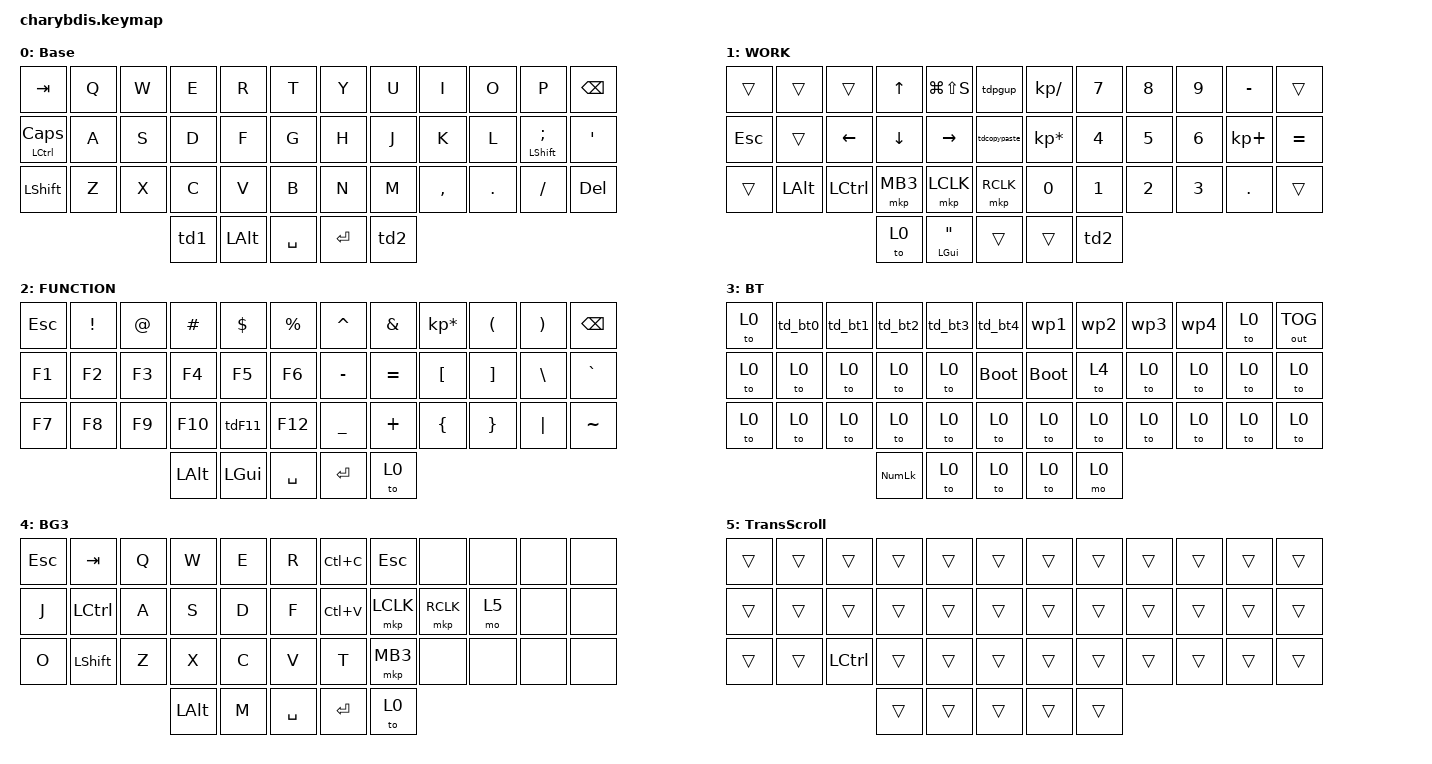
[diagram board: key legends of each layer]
#include <behaviors/mouse_keys.dtsi>
#include <behaviors.dtsi>
#include <dt-bindings/zmk/bt.h>
#include <dt-bindings/zmk/keys.h>
#include <dt-bindings/zmk/mouse.h>
#include <dt-bindings/zmk/outputs.h>

#define U_TAPPING_TERM 200

/ {
    chosen { zmk,matrix_transform = &default_transform; };
};

/ {
    macros {
        wp1: wp1 {
            compatible = "zmk,behavior-macro";
            #binding-cells = <0>;
            bindings = <&none &kp N1 &kp N1 &kp N2 &kp N7>;
            label = "WP1";
        };

        wp2: wp2 {
            compatible = "zmk,behavior-macro";
            #binding-cells = <0>;
            bindings = <&none &kp LS(J) &kp LS(T) &kp LS(B) &kp I &kp R &kp C &kp H &kp W &kp O &kp D &kp DLLR &kp N3 &kp RET>;
            label = "WP2";
        };

        wp3: wp3 {
            compatible = "zmk,behavior-macro";
            #binding-cells = <0>;
            bindings = <&none &kp J &kp O &kp N &kp A &kp T &kp H &kp A &kp N &kp DOT &kp T &kp A &kp N &kp G &kp N2 &kp TAB>;
            label = "WP3";
        };

        wp4: wp4 {
            compatible = "zmk,behavior-macro";
            #binding-cells = <0>;
            bindings = <&none &kp LS(I) &kp N &kp T &kp E &kp N &kp DLLR &kp J &kp T &kp N1 &kp RET>;
            label = "WP4";
        };

        sw1: sw1 {
            compatible = "zmk,behavior-macro";
            #binding-cells = <0>;
            bindings = <&none &kp SPACE &kp PIPE &kp SPACE>;
            label = "SW1";
        };

        sw2: sw2 {
            compatible = "zmk,behavior-macro";
            #binding-cells = <0>;
            bindings = <&none &kp SPACE &kp MINUS &kp SPACE>;
            label = "SW2";
        };
    };

    behaviors {
        td1: td1 {
            compatible = "zmk,behavior-tap-dance";
            label = "TD1";
            #binding-cells = <0>;
            bindings = <&mo 1>, <&mo 5>;

            tapping-term-ms = <200>;
        };

        td2: td2 {
            compatible = "zmk,behavior-tap-dance";
            label = "TD2";
            #binding-cells = <0>;
            bindings = <&mo 2>, <&mo 3>;

            tapping-term-ms = <200>;
        };

        td_bt0: td_bt0 {
            compatible = "zmk,behavior-tap-dance";
            label = "TD_BT0";
            #binding-cells = <0>;
            bindings = <&bt BT_SEL 0>, <&bt BT_CLR>;
        };

        td_bt1: td_bt1 {
            compatible = "zmk,behavior-tap-dance";
            label = "TD_BT1";
            #binding-cells = <0>;
            bindings = <&bt BT_SEL 1>, <&bt BT_CLR>;
        };

        td_bt2: td_bt2 {
            compatible = "zmk,behavior-tap-dance";
            label = "TD_BT2";
            #binding-cells = <0>;
            bindings = <&bt BT_SEL 2>, <&bt BT_CLR>;
        };

        td_bt3: td_bt3 {
            compatible = "zmk,behavior-tap-dance";
            label = "TD_BT3";
            #binding-cells = <0>;
            bindings = <&bt BT_SEL 3>, <&bt BT_CLR>;
        };

        td_bt4: td_bt4 {
            compatible = "zmk,behavior-tap-dance";
            label = "TD_BT4";
            #binding-cells = <0>;
            bindings = <&bt BT_SEL 4>, <&bt BT_CLR>;
        };

        td_tab_esc: td_tab_esc {
            compatible = "zmk,behavior-tap-dance";
            label = "TD_TAB_ESC";
            #binding-cells = <0>;
            bindings = <&kp TAB>, <&kp ESC>;

            tapping-term-ms = <200>;
        };

        td_minus_equal: td_minus_equal {
            compatible = "zmk,behavior-tap-dance";
            label = "TD_MINUS_EQUAL";
            #binding-cells = <0>;
            bindings = <&kp MINUS>, <&kp EQUAL>;

            tapping-term-ms = <200>;
        };

        tdF11: tdF11 {
            compatible = "zmk,behavior-tap-dance";
            label = "TDF11";
            #binding-cells = <0>;
            bindings = <&kp F11>, <&kp LC(F11)>;
        };

        tdcopypaste: tdcopypaste {
            compatible = "zmk,behavior-tap-dance";
            label = "TDCOPYPASTE";
            #binding-cells = <0>;
            bindings = <&kp LC(C)>, <&kp LC(V)>;
        };

        tdpgup: tdpgup {
            compatible = "zmk,behavior-tap-dance";
            label = "TDPGUP";
            #binding-cells = <0>;
            bindings = <&kp LC(PG_DN)>, <&kp LC(PG_UP)>;
        };
    };

    keymap {
        compatible = "zmk,keymap";

        Base {
            // -------------------------------------------------------------------------------------------
            // |    TAB    |  Q  |  W  |  E  |  R  |  T  |   |  Y  |  U    |  I  |  O  |     P    | BKSP |
            // | CTRL/CAPS |  A  |  S  |  D  |  F  |  G  |   |  H  |  J    |  K  |  L  |  ;/SHFT  |  '   |
            // |   SHFT    |  Z  |  X  |  C  |  V  |  B  |   |  N  |  M    |  ,  |  .  |     /    | DEL  |
            //                         | ALT |  L1 | SPC |   | ENT | L2/L3 |

            bindings = <
&kp TAB             &kp Q  &kp W  &kp E   &kp R          &kp T        &kp Y    &kp U  &kp I      &kp O    &kp P                     &kp BSPC
&mt LCTRL CAPSLOCK  &kp A  &kp S  &kp D   &kp F          &kp G        &kp H    &kp J  &kp K      &kp L    &mt LEFT_SHIFT SEMICOLON  &kp SQT
&kp LSHFT           &kp Z  &kp X  &kp C   &kp V          &kp B        &kp N    &kp M  &kp COMMA  &kp DOT  &kp FSLH                  &kp DEL
                                  &td1    &kp LEFT_ALT   &kp SPACE    &kp RET  &td2
            >;
        };

        WORK {
            // -----------------------------------------------------------------------------------------
            // | TAB  |  Q  |   W   |  UP   | CTRL  | SCR UP |   |  /   |   7   |  8  |  9  |  -  | BKSP |
            // | ESC  |  A  |  LFT  |  DWN  |  RGHT | SCR DN |   |  *   |   4   |  5  |  6  |  +  |  =   |
            // | SHFT | ALT | PG_UP | PG_UP | LCK   |  RCK   |   |  0   |   1   |  2  |  3  |  .  | DEL  |
            //                      | "/GUI |   L0  |  SPC   |   | ENT  | L2/L3 |

            bindings = <
&trans   &trans        &trans     &kp UP_ARROW  &kp LG(LS(S))                       &tdpgup          &kp KP_SLASH     &kp N7  &kp N8  &kp N9  &kp MINUS    &trans
&kp ESC  &trans        &kp LEFT   &kp DOWN      &kp RIGHT                           &tdcopypaste     &kp KP_MULTIPLY  &kp N4  &kp N5  &kp N6  &kp KP_PLUS  &kp EQUAL
&trans   &kp LEFT_ALT  &kp LCTRL  &mkp MB3      &mkp LCLK                           &mkp RCLK        &kp N0           &kp N1  &kp N2  &kp N3  &kp DOT      &trans
                                  &to 0         &mt LEFT_GUI DOUBLE_QUOTES          &trans           &trans           &td2
            >;
        };

        FUNCTION {
            // -----------------------------------------------------------------------------------------
            // |  ESC |  !  |  @  |  #  |  $  |  %  |   |  ^  |  &  |  *  |  (  |  )  | BKSP |
            // |  F1  |  F2 |  F3 |  F4 |  F5 |  F6 |   |  -  |  =  |  [  |  ]  |  \  |  `   |
            // |  F7  |  F8 |  F9 | F10 | F11 | F12 |   |  _  |  +  |  {  |  }  | "|" |  ~   |
            //                    | ALT | GUI | SPC |   | ENT | L0  |

            display-name = "FUNCTION";
            bindings = <
&kp ESC  &kp EXCL  &kp AT  &kp HASH  &kp DLLR      &kp PRCNT    &kp CARET  &kp AMPS   &kp KP_MULTIPLY  &kp LPAR  &kp RPAR  &kp BSPC
&kp F1   &kp F2    &kp F3  &kp F4    &kp F5        &kp F6       &kp MINUS  &kp EQUAL  &kp LBKT         &kp RBKT  &kp BSLH  &kp GRAVE
&kp F7   &kp F8    &kp F9  &kp F10   &tdF11        &kp F12      &kp UNDER  &kp PLUS   &kp LBRC         &kp RBRC  &kp PIPE  &kp TILDE
                           &kp LALT  &kp LEFT_GUI  &kp SPACE    &kp RET    &to 0
            >;
        };

        BT {
            display-name = "BT";
            bindings = <
&to 0  &td_bt0  &td_bt1  &td_bt2     &td_bt3  &td_bt4        &wp1         &wp2   &wp3   &wp4   &to 0  &out OUT_TOG
&to 0  &to 0    &to 0    &to 0       &to 0    &bootloader    &bootloader  &to 4  &to 0  &to 0  &to 0  &to 0
&to 0  &to 0    &to 0    &to 0       &to 0    &to 0          &to 0        &to 0  &to 0  &to 0  &to 0  &to 0
                         &kp KP_NUM  &to 0    &to 0          &to 0        &mo 0
            >;
        };

        BG3 {
            bindings = <
&kp ESC  &kp TAB    &kp Q  &kp W     &kp E  &kp R        &kp LC(C)  &kp ESC    &none      &none  &none  &none
&kp J    &kp LCTRL  &kp A  &kp S     &kp D  &kp F        &kp LC(V)  &mkp LCLK  &mkp RCLK  &mo 5  &none  &none
&kp O    &kp LSHFT  &kp Z  &kp X     &kp C  &kp V        &kp T      &mkp MB3   &none      &none  &none  &none
                           &kp LALT  &kp M  &kp SPACE    &kp RET    &to 0
            >;
        };

        TransScroll {
            bindings = <
&trans   &trans  &trans     &trans   &trans   &trans    &trans  &trans  &trans  &trans  &trans   &trans
&trans   &trans  &trans     &trans   &trans   &trans    &trans  &trans  &trans  &trans  &trans   &trans
&trans   &trans  &kp LCTRL  &trans   &trans   &trans    &trans  &trans  &trans  &trans  &trans   &trans
                            &trans   &trans   &trans    &trans  &trans
            >;
        };

    };
};
